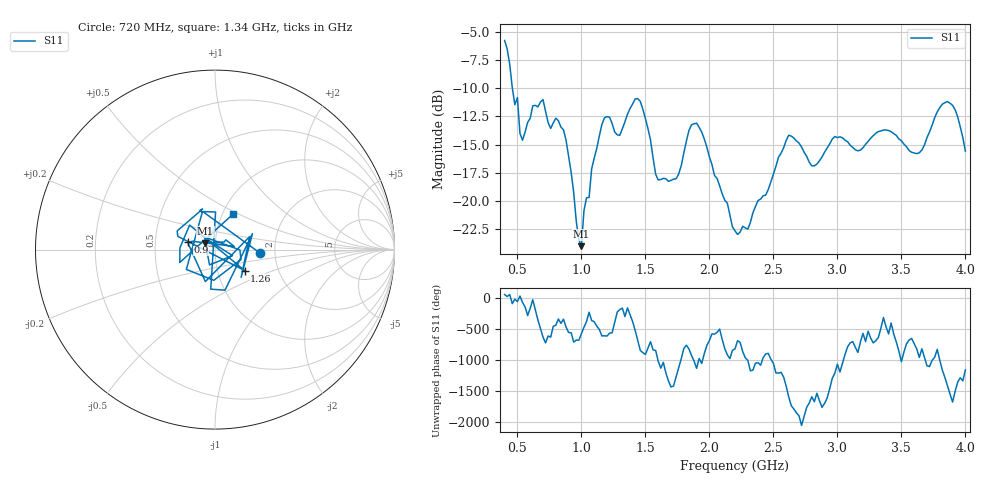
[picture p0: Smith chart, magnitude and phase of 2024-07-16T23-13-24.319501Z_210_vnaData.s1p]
!Created with skrf (http://scikit-rf.org).
# Hz S RI R 50.0
!freq ReS11 ImS11
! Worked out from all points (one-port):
!   181 points, 400 MHz to 4 GHz, reference 50 ohm
!   lowest |S11| = -24.0 dB at 1 GHz (marker M1), VSWR 1.13, Z = 44.9 + j3.08 ohm
!   |S11| at or under -10 dB: 460.4 MHz to end of sweep
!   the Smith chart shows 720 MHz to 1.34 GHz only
!   S11 on the Smith chart (normalised r, x): 720 MHz: 1.66, -0.06; 900 MHz: 0.73, +0.06; 1.26 GHz: 1.35, -0.33; 1.34 GHz: 1.12, +0.47
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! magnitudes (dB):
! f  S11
! 400 MHz  -5.8
! 540 MHz  -14.6
! 620 MHz  -11.6
! 720 MHz  -12.1
! 860 MHz  -13.7
! 900 MHz  -16.0
! 1 GHz  -24.0
! 1.02 GHz  -20.9
! 1.16 GHz  -13.2
! 1.26 GHz  -13.9
! 1.3 GHz  -14.2
! 1.34 GHz  -13.0
! 1.44 GHz  -10.9
! 1.6 GHz  -18.1
! 1.76 GHz  -17.6
! 1.84 GHz  -13.8
! 1.9 GHz  -13.1
! 2.2 GHz  -22.6
! 2.3 GHz  -22.5
! 2.66 GHz  -14.4
! 2.8 GHz  -16.9
! 2.98 GHz  -14.3
! 3.1 GHz  -15.1
! 3.38 GHz  -13.7
! 3.56 GHz  -15.5
! 3.66 GHz  -15.5
! 3.86 GHz  -11.2
! 4 GHz  -15.6
